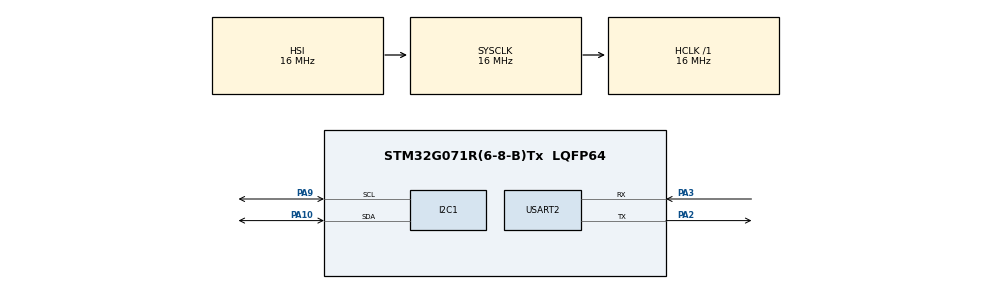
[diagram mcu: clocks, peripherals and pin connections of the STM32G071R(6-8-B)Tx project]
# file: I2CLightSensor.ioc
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I2C1.Timing=0x00503D58
Mcu.Family=STM32G0
Mcu.Name=STM32G071R(6-8-B)Tx
Mcu.Package=LQFP64
PA10.Mode=I2C
PA10.Signal=I2C1_SDA
PA2.Mode=Asynchronous
PA2.Signal=USART2_TX
PA3.Mode=Asynchronous
PA3.Signal=USART2_RX
PA9.Mode=I2C
PA9.Signal=I2C1_SCL
ProjectManager.HeapSize=0x200
ProjectManager.StackSize=0x400
ProjectManager.TargetToolchain=STM32CubeIDE
RCC.AHBFreq_Value=16000000
RCC.CortexFreq_Value=16000000
RCC.EXTERNAL_CLOCK_VALUE=48000
RCC.HCLKFreq_Value=16000000
RCC.HSE_VALUE=8000000
RCC.HSI_VALUE=16000000
RCC.LSE_VALUE=32768
RCC.SYSCLKFreq_VALUE=16000000
RCC.VCOOutputFreq_Value=128000000
USART2.VirtualMode-Asynchronous=VM_ASYNC
board=custom

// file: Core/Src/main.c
/* USER CODE BEGIN Header */
/**
  ******************************************************************************
  * @file           : main.c
  * @brief          : Main program body
  ******************************************************************************
  * @attention
  *
  * Copyright (c) 2025 STMicroelectronics.
  * All rights reserved.
  *
  * This software is licensed under terms that can be found in the LICENSE file
  * in the root directory of this software component.
  * If no LICENSE file comes with this software, it is provided AS-IS.
  *
  ******************************************************************************
  */
/* USER CODE END Header */
#include "main.h"

/* USER CODE BEGIN Includes */
#include "LightSensor.h"
/* USER CODE END Includes */

/* USER CODE BEGIN PM */
void HAL_UART_PrintFloat(float value, uint8_t decimals);
void HAL_UART_Print(const char *s);
/* USER CODE END PM */

I2C_HandleTypeDef hi2c1;

UART_HandleTypeDef huart2;

/* USER CODE BEGIN PV */
BH1750 light;

/* USER CODE END PV */

void SystemClock_Config(void);
static void MX_GPIO_Init(void);
static void MX_I2C1_Init(void);
static void MX_USART2_UART_Init(void);

int main(void)
{

  /* MCU Configuration--------------------------------------------------------*/

  /* Reset of all peripherals, Initializes the Flash interface and the Systick. */
  HAL_Init();

  /* Configure the system clock */
  SystemClock_Config();

  /* Initialize all configured peripherals */
  MX_GPIO_Init();
  MX_I2C1_Init();
  MX_USART2_UART_Init();
  /* USER CODE BEGIN 2 */
  BH1750_Init(&light, &hi2c1, 0); // 0 = low address

  // Optional: Change integration time
  BH1750_SetMTreg(&light, 120);
  float lux;
  HAL_UART_Print("Starting:\r\n");

  /* USER CODE END 2 */

  /* Infinite loop */
  /* USER CODE BEGIN WHILE */
  while (1)
  {
      if (BH1750_ReadLux(&light, &lux) == HAL_OK)
      {
    	  HAL_UART_Print("Value: ");
    	  HAL_UART_PrintFloat(lux, 2);
    	  HAL_UART_Print("\r\n");

      }
      else{
    	  HAL_UART_Print("Failed Read\r\n");

      }
      HAL_Delay(500);
    /* USER CODE END WHILE */

  }
}

void SystemClock_Config(void)
{
  RCC_OscInitTypeDef RCC_OscInitStruct = {0};
  RCC_ClkInitTypeDef RCC_ClkInitStruct = {0};

  /** Configure the main internal regulator output voltage
  */
  HAL_PWREx_ControlVoltageScaling(PWR_REGULATOR_VOLTAGE_SCALE1);

  /** Initializes the RCC Oscillators according to the specified parameters
  * in the RCC_OscInitTypeDef structure.
  */
  RCC_OscInitStruct.OscillatorType = RCC_OSCILLATORTYPE_HSI;
  RCC_OscInitStruct.HSIState = RCC_HSI_ON;
  RCC_OscInitStruct.HSIDiv = RCC_HSI_DIV1;
  RCC_OscInitStruct.HSICalibrationValue = RCC_HSICALIBRATION_DEFAULT;
  RCC_OscInitStruct.PLL.PLLState = RCC_PLL_NONE;
  if (HAL_RCC_OscConfig(&RCC_OscInitStruct) != HAL_OK)
  {
    Error_Handler();
  }

  /** Initializes the CPU, AHB and APB buses clocks
  */
  RCC_ClkInitStruct.ClockType = RCC_CLOCKTYPE_HCLK|RCC_CLOCKTYPE_SYSCLK
                              |RCC_CLOCKTYPE_PCLK1;
  RCC_ClkInitStruct.SYSCLKSource = RCC_SYSCLKSOURCE_HSI;
  RCC_ClkInitStruct.AHBCLKDivider = RCC_SYSCLK_DIV1;
  RCC_ClkInitStruct.APB1CLKDivider = RCC_HCLK_DIV1;

  if (HAL_RCC_ClockConfig(&RCC_ClkInitStruct, FLASH_LATENCY_0) != HAL_OK)
  {
    Error_Handler();
  }
}

static void MX_I2C1_Init(void)
{

  hi2c1.Instance = I2C1;
  hi2c1.Init.Timing = 0x00503D58;
  hi2c1.Init.OwnAddress1 = 0;
  hi2c1.Init.AddressingMode = I2C_ADDRESSINGMODE_7BIT;
  hi2c1.Init.DualAddressMode = I2C_DUALADDRESS_DISABLE;
  hi2c1.Init.OwnAddress2 = 0;
  hi2c1.Init.OwnAddress2Masks = I2C_OA2_NOMASK;
  hi2c1.Init.GeneralCallMode = I2C_GENERALCALL_DISABLE;
  hi2c1.Init.NoStretchMode = I2C_NOSTRETCH_DISABLE;
  if (HAL_I2C_Init(&hi2c1) != HAL_OK)
  {
    Error_Handler();
  }

  /** Configure Analogue filter
  */
  if (HAL_I2CEx_ConfigAnalogFilter(&hi2c1, I2C_ANALOGFILTER_ENABLE) != HAL_OK)
  {
    Error_Handler();
  }

  /** Configure Digital filter
  */
  if (HAL_I2CEx_ConfigDigitalFilter(&hi2c1, 0) != HAL_OK)
  {
    Error_Handler();
  }

}

static void MX_USART2_UART_Init(void)
{

  huart2.Instance = USART2;
  huart2.Init.BaudRate = 115200;
  huart2.Init.WordLength = UART_WORDLENGTH_8B;
  huart2.Init.StopBits = UART_STOPBITS_1;
  huart2.Init.Parity = UART_PARITY_NONE;
  huart2.Init.Mode = UART_MODE_TX_RX;
  huart2.Init.HwFlowCtl = UART_HWCONTROL_NONE;
  huart2.Init.OverSampling = UART_OVERSAMPLING_16;
  huart2.Init.OneBitSampling = UART_ONE_BIT_SAMPLE_DISABLE;
  huart2.Init.ClockPrescaler = UART_PRESCALER_DIV1;
  huart2.AdvancedInit.AdvFeatureInit = UART_ADVFEATURE_NO_INIT;
  if (HAL_UART_Init(&huart2) != HAL_OK)
  {
    Error_Handler();
  }
  if (HAL_UARTEx_SetTxFifoThreshold(&huart2, UART_TXFIFO_THRESHOLD_1_8) != HAL_OK)
  {
    Error_Handler();
  }
  if (HAL_UARTEx_SetRxFifoThreshold(&huart2, UART_RXFIFO_THRESHOLD_1_8) != HAL_OK)
  {
    Error_Handler();
  }
  if (HAL_UARTEx_DisableFifoMode(&huart2) != HAL_OK)
  {
    Error_Handler();
  }

}

static void MX_GPIO_Init(void)
{

  /* GPIO Ports Clock Enable */
  __HAL_RCC_GPIOA_CLK_ENABLE();

}

/* USER CODE BEGIN 4 */
void HAL_UART_PrintChar(char c)
{
    HAL_UART_Transmit(&huart2, (uint8_t*)&c, 1, HAL_MAX_DELAY);
}

void HAL_UART_Print(const char *s)
{
    while (*s)
        HAL_UART_PrintChar(*s++);
}
void HAL_UART_PrintFloat(float value, uint8_t decimals)
{
    // Handle negative numbers
    if (value < 0) {
        HAL_UART_PrintChar('-');
        value = -value;
    }

    // Extract integer part
    uint32_t intPart = (uint32_t)value;

    // Extract fractional part
    float fpart = value - (float)intPart;

    // Print integer part manually
    char buffer[12];
    int i = 0;

    do {
        buffer[i++] = (intPart % 10) + '0';
        intPart /= 10;
    } while (intPart > 0);

    // Print in correct order
    while (i > 0) {
        HAL_UART_PrintChar(buffer[--i]);
    }

    // Decimal point
    if (decimals > 0) {
        HAL_UART_PrintChar('.');

        // Multiply out fractional digits
        for (int d = 0; d < decimals; d++) {
            fpart *= 10.0f;
            int digit = (int)fpart;
            HAL_UART_PrintChar('0' + digit);
            fpart -= digit;
        }
    }
}
/* USER CODE END 4 */

void Error_Handler(void)
{
  __disable_irq();
  while (1)
  {
  }
}
